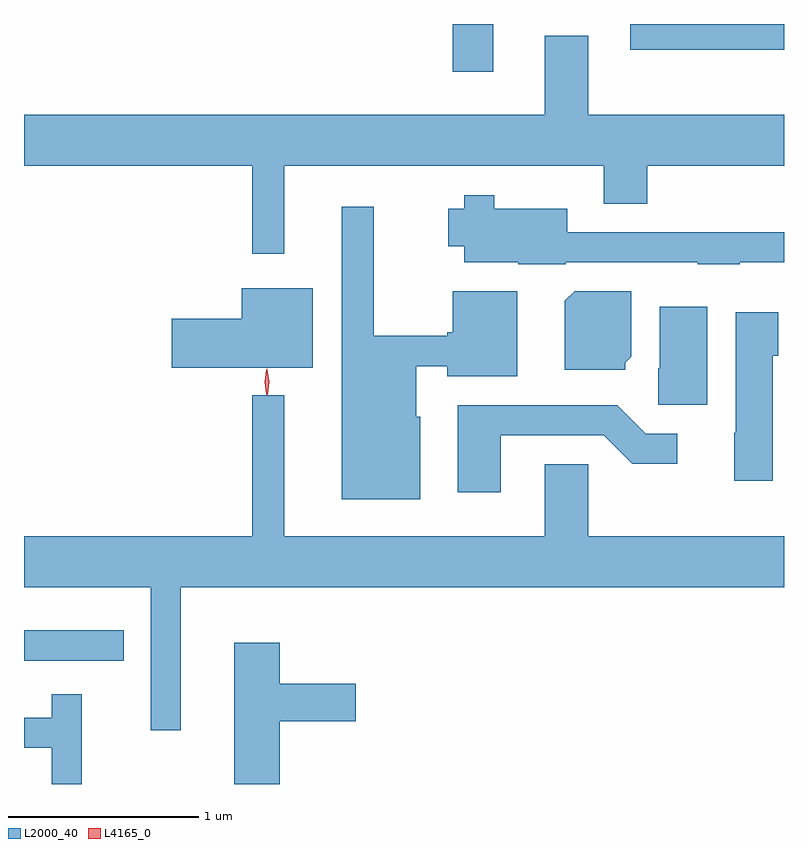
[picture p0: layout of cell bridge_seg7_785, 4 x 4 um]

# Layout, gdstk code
import gdstk
lib = gdstk.Library(unit=1e-6, precision=1e-09)
def R(c, l, rs):  # rectangles x0, y0, x1, y1
    for r in rs: c.add(gdstk.rectangle(r[:2], r[2:], *l))
def P(c, l, *ps):  # polygons
    for p in ps: c.add(gdstk.Polygon(p, *l))
L2000_40 = (2000, 40)
L4165_0 = (4165, 0)

bridge_seg7_785 = lib.new_cell('bridge_seg7_785')
R(bridge_seg7_785, L2000_40, [(325.149,1749.451,325.673,1749.609), (327.406,1752.551,327.619,1752.801), (328.341,1752.666,329.149,1752.801)])
P(bridge_seg7_785, L2000_40, [(326.519,1752.056),(328.201,1752.056),(328.201,1751.856),(328.429,1751.856),(328.429,1752.056),(329.149,1752.056),(329.149,1752.324),(328.119,1752.324),(328.119,1752.739),(327.891,1752.739),(327.891,1752.324),(325.149,1752.324),(325.149,1752.056),(326.351,1752.056),(326.351,1751.593),(326.519,1751.593)],
  [(328,1751.546),(328.695,1751.546),(328.695,1751.536),(328.915,1751.536),(328.915,1751.546),(329.149,1751.546),(329.149,1751.704),(328.009,1751.704),(328.009,1751.829),(327.624,1751.829),(327.624,1751.899),(327.466,1751.899),(327.466,1751.829),(327.381,1751.829),(327.381,1751.631),(327.466,1751.631),(327.466,1751.546),(327.75,1751.546),(327.75,1751.536),(328,1751.536)],
  [(327.234,1750.734),(327.214,1750.734),(327.214,1751.001),(327.376,1751.001),(327.376,1750.946),(327.744,1750.946),(327.744,1751.394),(327.406,1751.394),(327.406,1751.179),(327.376,1751.179),(327.376,1751.159),(326.989,1751.159),(326.989,1751.838),(326.821,1751.838),(326.821,1750.301),(327.234,1750.301)],
  [(326.669,1751.409),(326.296,1751.409),(326.296,1751.249),(325.926,1751.249),(325.926,1750.991),(326.669,1750.991)],
  [(328.314,1751.019),(328.344,1751.049),(328.344,1751.394),(328.047,1751.394),(327.996,1751.344),(327.996,1750.981),(328.314,1750.981)],
  [(328.744,1751.314),(328.496,1751.314),(328.496,1750.99),(328.486,1750.99),(328.486,1750.796),(328.744,1750.796)],
  [(329.089,1751.056),(329.119,1751.056),(329.119,1751.284),(328.896,1751.284),(328.896,1750.65),(328.886,1750.65),(328.886,1750.396),(329.089,1750.396)],
  [(325.974,1749.836),(329.149,1749.836),(329.149,1750.104),(328.119,1750.104),(328.119,1750.484),(327.891,1750.484),(327.891,1750.104),(326.519,1750.104),(326.519,1750.848),(326.351,1750.848),(326.351,1750.104),(325.149,1750.104),(325.149,1749.836),(325.816,1749.836),(325.816,1749.083),(325.974,1749.083)],
  [(327.659,1750.636),(328.199,1750.636),(328.349,1750.486),(328.588,1750.486),(328.588,1750.644),(328.422,1750.644),(328.272,1750.794),(327.431,1750.794),(327.431,1750.336),(327.659,1750.336)],
  [(326.494,1749.131),(326.894,1749.131),(326.894,1749.329),(326.494,1749.329),(326.494,1749.544),(326.256,1749.544),(326.256,1748.801),(326.494,1748.801)],
  [(325.454,1749.273),(325.296,1749.273),(325.296,1749.149),(325.149,1749.149),(325.149,1748.991),(325.296,1748.991),(325.296,1748.801),(325.454,1748.801)])
P(bridge_seg7_785, L4165_0, [(326.43,1750.85),(326.42,1750.918),(326.43,1750.985),(326.43,1750.986),(326.43,1750.985),(326.44,1750.918),(326.432,1750.85),(326.431,1750.85)],
  [(326.425,1750.853),(326.416,1750.916),(326.425,1750.98),(326.425,1750.98),(326.426,1750.98),(326.435,1750.916),(326.426,1750.853),(326.426,1750.853)])

lib.write_gds('bridge_seg7_785.gds')
